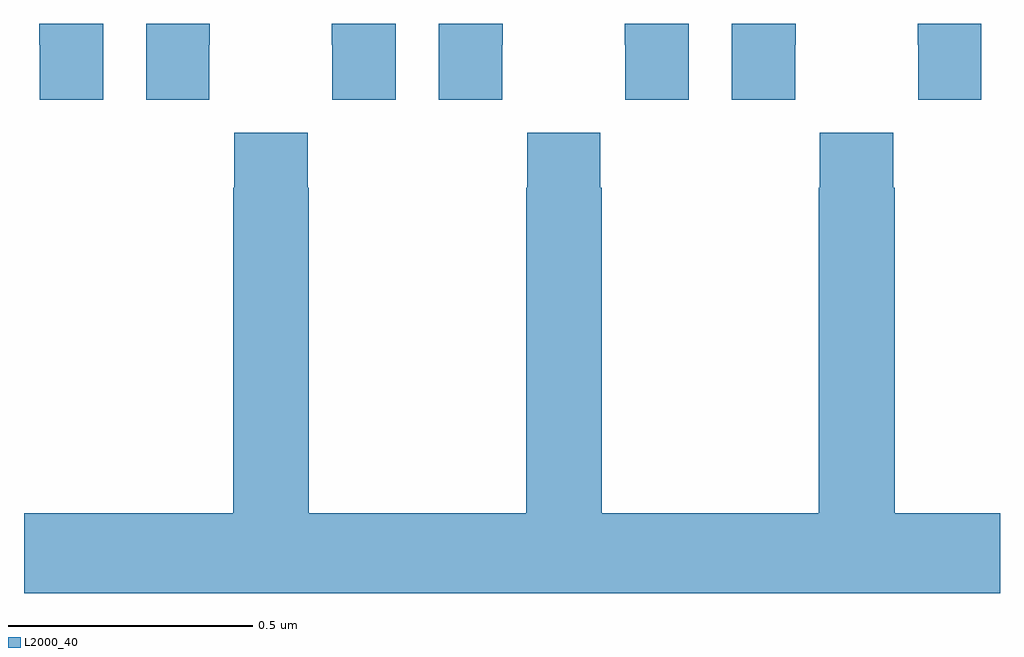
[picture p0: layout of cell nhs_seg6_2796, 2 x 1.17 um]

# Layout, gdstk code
import gdstk
lib = gdstk.Library(unit=1e-6, precision=1e-09)
def P(c, l, *ps):  # polygons
    for p in ps: c.add(gdstk.Polygon(p, *l))
L2000_40 = (2000, 40)

nhs_seg6_2796 = lib.new_cell('nhs_seg6_2796')
P(nhs_seg6_2796, L2000_40, [(148.162,952.5),(148.031,952.5),(148.031,952.456),(148.032,952.456),(148.032,952.344),(148.162,952.344)],
  [(148.38,952.456),(148.381,952.456),(148.381,952.5),(148.25,952.5),(148.25,952.344),(148.38,952.344)],
  [(148.762,952.5),(148.631,952.5),(148.631,952.456),(148.632,952.456),(148.632,952.344),(148.762,952.344)],
  [(148.98,952.456),(148.981,952.456),(148.981,952.5),(148.85,952.5),(148.85,952.344),(148.98,952.344)],
  [(149.362,952.5),(149.231,952.5),(149.231,952.456),(149.232,952.456),(149.232,952.344),(149.362,952.344)],
  [(149.58,952.456),(149.581,952.456),(149.581,952.5),(149.45,952.5),(149.45,952.344),(149.58,952.344)],
  [(149.962,952.5),(149.831,952.5),(149.831,952.456),(149.832,952.456),(149.832,952.344),(149.962,952.344)],
  [(150,951.496),(149.784,951.496),(149.784,952.163),(149.781,952.163),(149.781,952.276),(149.631,952.276),(149.631,952.163),(149.629,952.163),(149.629,951.496),(149.184,951.496),(149.184,952.163),(149.181,952.163),(149.181,952.276),(149.031,952.276),(149.031,952.163),(149.029,952.163),(149.029,951.496),(148.584,951.496),(148.584,952.163),(148.581,952.163),(148.581,952.276),(148.431,952.276),(148.431,952.163),(148.429,952.163),(148.429,951.496),(148,951.496),(148,951.332),(150,951.332)])

lib.write_gds('nhs_seg6_2796.gds')
